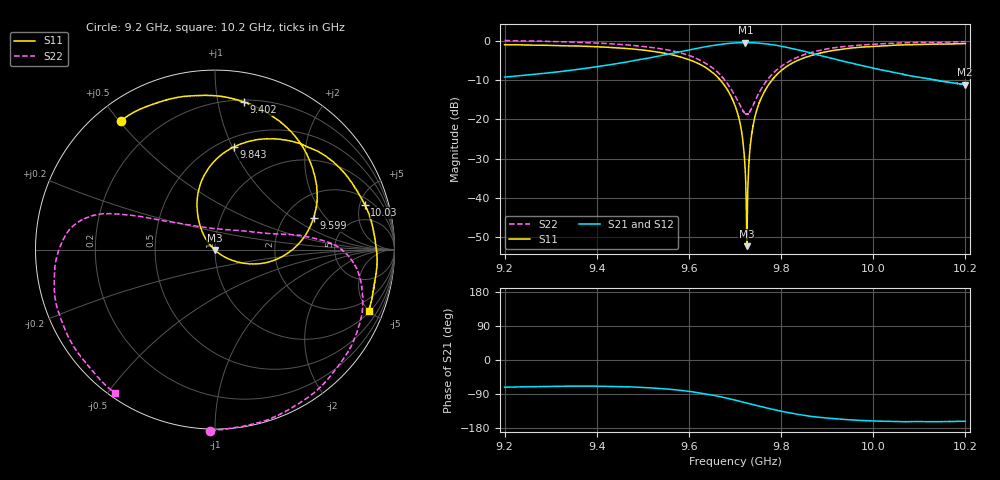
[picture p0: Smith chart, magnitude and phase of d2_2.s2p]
!Agilent Technologies,N5242A,MY51221714,A.09.90.19
!Agilent N5242A: A.09.90.19
!Date: Friday, February 02, 2024 13:10:45
!Correction: S11(Full 2 Port(1,2))
!S21(Full 2 Port(1,2))
!S12(Full 2 Port(1,2))
!S22(Full 2 Port(1,2))
!S2P File: Measurements: S11, S21, S12, S22:
# Hz S  dB  R 50
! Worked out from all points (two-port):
!   16001 points, 9.2 GHz to 10.2 GHz, reference 50 ohm
!   highest |S21| = -0.46 dB at 9.723 GHz (marker M1); lowest = -11.2 dB at 10.2 GHz (marker M2)
!   |S21| within 3 dB of the highest: 9.551934 GHz to 9.551943 GHz (9.494 kHz wide, 9.94e-05 % of centre); 9.552 GHz to 9.875 GHz (323 MHz wide, 3.33 % of centre)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
!   lowest |S11| = -52.3 dB at 9.726 GHz (marker M3), VSWR 1.00, Z = 49.9 - j0.194 ohm
!   |S11| at or under -10 dB: 9.668 GHz to 9.78 GHz (112.5 MHz wide, 1.16 % of centre)
!   |S22| runs from -18.7 to 0.1 dB; largest |S21 - S12| = 0.023
!   S11 on the Smith chart (normalised r, x): 9.2 GHz: 0.07, +0.50; 9.402 GHz: 0.21, +1.19; 9.599 GHz: 2.85, +1.50; 9.843 GHz: 0.59, +1.02; 10.03 GHz: 2.71, +5.57; 10.2 GHz: 1.10, -4.99
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9.2e9  -1.02 126.3  -9.24 -71.8  -9.20 -73.0  0.07 -91.5
9.366688e9  -1.37 87.9  -7.15 -69.1  -7.14 -70.1  -0.45 -46.2
9.40175e9  -1.53 79.0  -6.57 -69.2  -6.55 -70.4  -0.59 -37.2
9.533375e9  -2.91 41.5  -3.93 -74.7  -3.89 -75.8  -1.94 -8.1
9.599312e9  -4.78 17.7  -2.36 -82.6  -2.33 -83.8  -3.69 2.9
9.660875e9  -9.12 -8.6  -1.05 -95.1  -1.02 -96.2  -7.85 12.2
9.7e9  -16.49 -28.0  -0.56 -105.9  -0.53 -107.1  -13.96 30.9
9.715e9  -23.64 -37.6  -0.48 -110.3  -0.45 -111.5  -17.35 54.3
9.722562e9  -34.09 -46.5  -0.46 -112.6  -0.44 -113.9  -18.57 75.3
9.72575e9  -52.31 -126.5  -0.47 -113.6  -0.45 -114.8  -18.65 86.0
9.729e9  -34.00 142.5  -0.48 -114.5  -0.45 -115.9  -18.51 96.7
9.733062e9  -26.76 135.3  -0.49 -115.8  -0.46 -117.0  -17.87 108.4
9.737688e9  -22.66 131.1  -0.50 -117.3  -0.48 -118.5  -16.77 119.7
9.754875e9  -15.17 120.1  -0.64 -122.4  -0.62 -123.7  -12.69 141.7
9.790562e9  -8.65 103.0  -1.18 -132.6  -1.18 -133.9  -7.40 155.1
9.842625e9  -4.69 79.4  -2.47 -144.6  -2.47 -145.8  -3.86 161.8
9.866688e9  -3.69 69.4  -3.19 -148.9  -3.18 -150.1  -2.96 164.7
9.941188e9  -2.00 43.4  -5.37 -157.2  -5.37 -158.4  -1.43 176.5
1.003338e10  -1.20 16.9  -7.79 -161.9  -7.77 -163.0  -0.67 -164.9
1.003469e10  -1.20 16.6  -7.83 -161.9  -7.81 -163.1  -0.66 -164.7
1.019962e10  -0.72 -21.6  -11.18 -161.6  -11.16 -163.0  -0.23 -125.1
1.02e10  -0.71 -21.7  -11.17 -161.7  -11.16 -163.0  -0.23 -125.0
